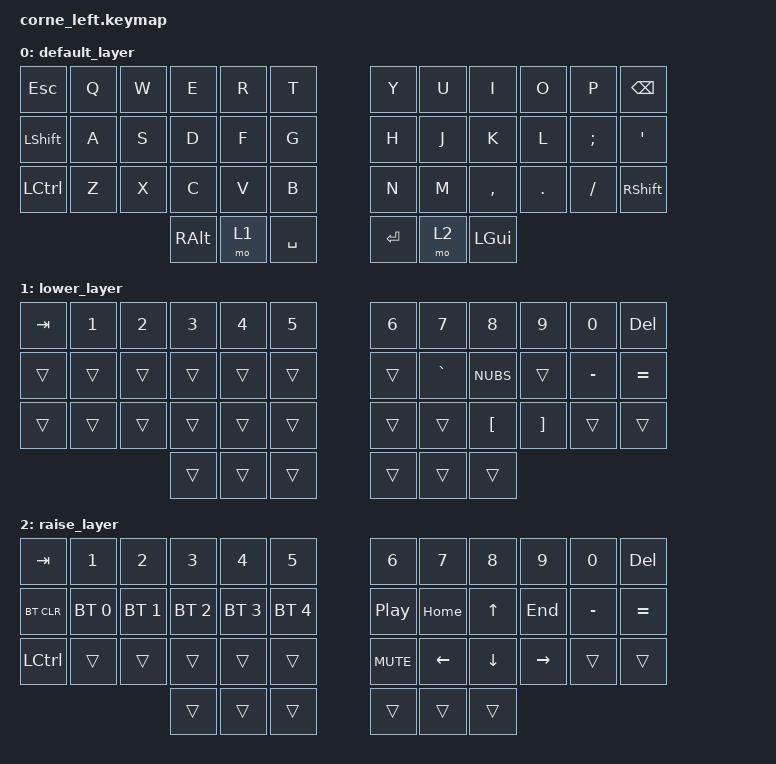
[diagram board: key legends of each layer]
/*
 * Copyright (c) 2020 The ZMK Contributors
 *
 * SPDX-License-Identifier: MIT
 */
#include <behaviors.dtsi>
#include <dt-bindings/zmk/keys.h>
#include <dt-bindings/zmk/bt.h>

/ {
    chosen {
        zmk,kscan = &kscan0;
    };
};

&kscan0 {
    col-gpios
        = <&pro_micro 14 GPIO_ACTIVE_HIGH>
        , <&pro_micro 15 GPIO_ACTIVE_HIGH>
        , <&pro_micro 18 GPIO_ACTIVE_HIGH>
        , <&pro_micro 19 GPIO_ACTIVE_HIGH>
        , <&pro_micro 20 GPIO_ACTIVE_HIGH>
        , <&pro_micro 21 GPIO_ACTIVE_HIGH>
        ;
};

/ {
    keymap {
        compatible = "zmk,keymap";
        default_layer {
// -----------------------------------------------------------------------------------------
// |  ESC |  Q  |  W  |  E  |  R  |  T  |   |  Y  |  U   |  I  |  O  |  P  | BSPC |
// | LSHFT |  A  |  S  |  D  |  F  |  G  |   |  H  |  J   |  K  |  L  |  ;  |  '   |
// | CTRL |  Z  |  X  |  C  |  V  |  B  |   |  N  |  M   |  ,  |  .  |  /  | ESC  |
//                    | ALT | LWR | SPC |   | ENT | RSE  | GUI |
            bindings = <
                &kp ESC   &kp Q &kp W &kp E &kp R &kp T   &kp Y &kp U  &kp I     &kp O   &kp P    &kp BSPC
                &kp LSHFT &kp A &kp S &kp D &kp F &kp G   &kp H &kp J  &kp K     &kp L   &kp SEMI &kp SQT
                &kp LCTRL &kp Z &kp X &kp C &kp V &kp B   &kp N &kp M  &kp COMMA &kp DOT &kp FSLH &kp RSHFT
                                &kp RALT &mo 1 &kp SPACE   &kp RET &mo 2 &kp LGUI
            >;
        };

        lower_layer {
// -----------------------------------------------------------------------------------------
// |  TAB |  1  |  2  |  3  |  4  |  5  |   |  6  |  7  |  8  |  9  |  0  | DEL  |
// |      |     |     |     |     |     |   |     |GRAVE|  \  |     |  -  |  =   |
// |      |     |     |     |     |     |   |     |     |  [  |  ]  |     |      |
//                    |     |     |     |   |     |     |     |
            bindings = <
                &kp TAB    &kp N1       &kp N2       &kp N3       &kp N4       &kp N5         &kp N6   &kp N7   &kp N8 &kp N9    &kp N0 &kp DEL
                &trans &trans &trans &trans &trans &trans   &trans &kp GRAVE &kp NUBS &trans &kp MINUS &kp EQUAL
                &trans  &trans       &trans       &trans       &trans       &trans         &trans   &trans   &kp LBKT  &kp RBKT    &trans &trans
                                                     &trans     &trans        &trans     &trans  &trans   &trans
            >;
        };

        raise_layer {
// -----------------------------------------------------------------------------------------
// |  TAB |  1  |  2  |  3  |  4  |  5  |   |  6  |  7  |  8  |  9  |  0  | DEL |
// | BTCLR| BT1 | BT2 | BT3 | BT4 | BT5 |   | PLAY|HOME |  UP | END |  -  |  =   |
// | CTRL |     |     |     |     |     |   |MUTE |LEFT |DOWN |RIGHT|     |      |
//                    |     |     |     |   |     |     |     |
            bindings = <
                &kp TAB    &kp N1       &kp N2       &kp N3       &kp N4       &kp N5         &kp N6   &kp N7   &kp N8 &kp N9    &kp N0 &kp DEL
                &bt BT_CLR &bt BT_SEL 0 &bt BT_SEL 1 &bt BT_SEL 2 &bt BT_SEL 3 &bt BT_SEL 4    &kp C_PLAY_PAUSE &kp HOME &kp UP  &kp END &kp MINUS &kp EQUAL
                &kp LCTRL &trans   &trans &trans   &trans   &trans      &kp C_MUTE &kp LEFT  &kp DOWN  &kp RIGHT &trans &trans
                                           &trans     &trans        &trans     &trans  &trans   &trans
            >;
        };
    };
};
